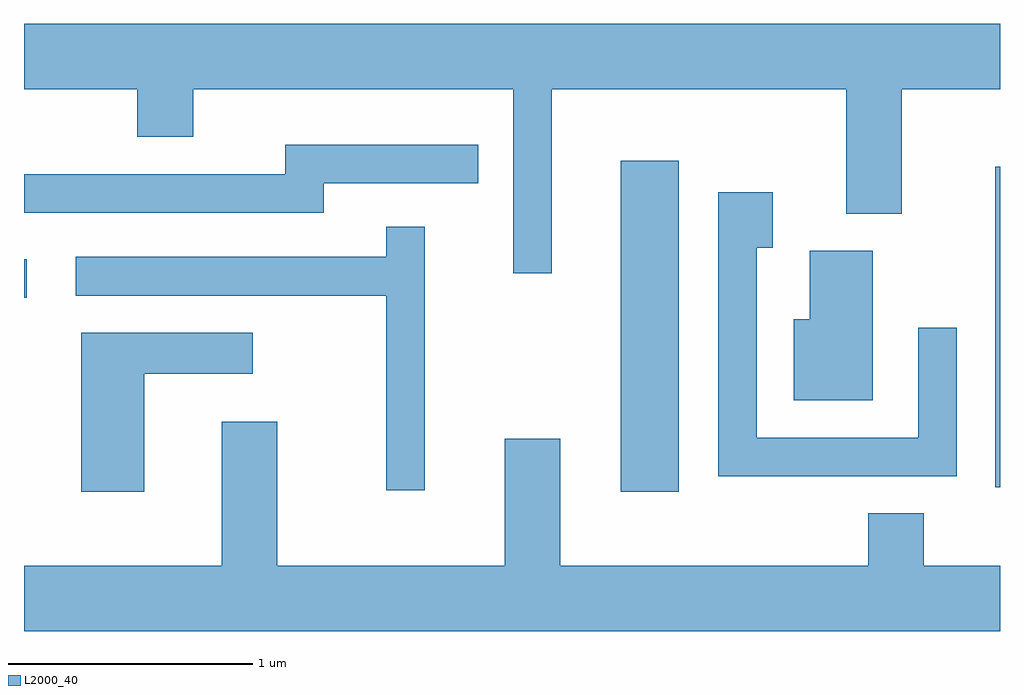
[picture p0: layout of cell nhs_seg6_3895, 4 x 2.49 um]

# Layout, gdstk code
import gdstk
lib = gdstk.Library(unit=1e-6, precision=1e-09)
def R(c, l, rs):  # rectangles x0, y0, x1, y1
    for r in rs: c.add(gdstk.rectangle(r[:2], r[2:], *l))
def P(c, l, *ps):  # polygons
    for p in ps: c.add(gdstk.Polygon(p, *l))
L2000_40 = (2000, 40)

nhs_seg6_3895 = lib.new_cell('nhs_seg6_3895')
R(nhs_seg6_3895, L2000_40, [(304.056,1641.626,304.294,1642.984), (305.591,1641.646,305.611,1642.959), (301.611,1642.421,301.623,1642.579)])
P(nhs_seg6_3895, L2000_40, [(303.774,1643.276),(304.981,1643.276),(304.981,1642.766),(305.209,1642.766),(305.209,1643.276),(305.611,1643.276),(305.611,1643.544),(301.611,1643.544),(301.611,1643.276),(302.076,1643.276),(302.076,1643.081),(302.304,1643.081),(302.304,1643.276),(303.616,1643.276),(303.616,1642.523),(303.774,1642.523)],
  [(302.839,1642.891),(303.473,1642.891),(303.473,1643.049),(302.681,1643.049),(302.681,1642.929),(301.611,1642.929),(301.611,1642.771),(302.839,1642.771)],
  [(305.434,1642.298),(305.276,1642.298),(305.276,1641.849),(304.614,1641.849),(304.614,1642.626),(304.679,1642.626),(304.679,1642.854),(304.456,1642.854),(304.456,1641.691),(305.434,1641.691)],
  [(303.254,1642.713),(303.096,1642.713),(303.096,1642.589),(301.823,1642.589),(301.823,1642.431),(303.096,1642.431),(303.096,1641.633),(303.254,1641.633)],
  [(305.089,1642.614),(304.831,1642.614),(304.831,1642.334),(304.766,1642.334),(304.766,1642.001),(305.089,1642.001)],
  [(302.104,1642.111),(302.548,1642.111),(302.548,1642.279),(301.846,1642.279),(301.846,1641.626),(302.104,1641.626)],
  [(305.611,1641.324),(305.299,1641.324),(305.299,1641.539),(305.071,1641.539),(305.071,1641.324),(303.809,1641.324),(303.809,1641.844),(303.581,1641.844),(303.581,1641.324),(302.649,1641.324),(302.649,1641.914),(302.421,1641.914),(302.421,1641.324),(301.611,1641.324),(301.611,1641.056),(305.611,1641.056)])

lib.write_gds('nhs_seg6_3895.gds')
